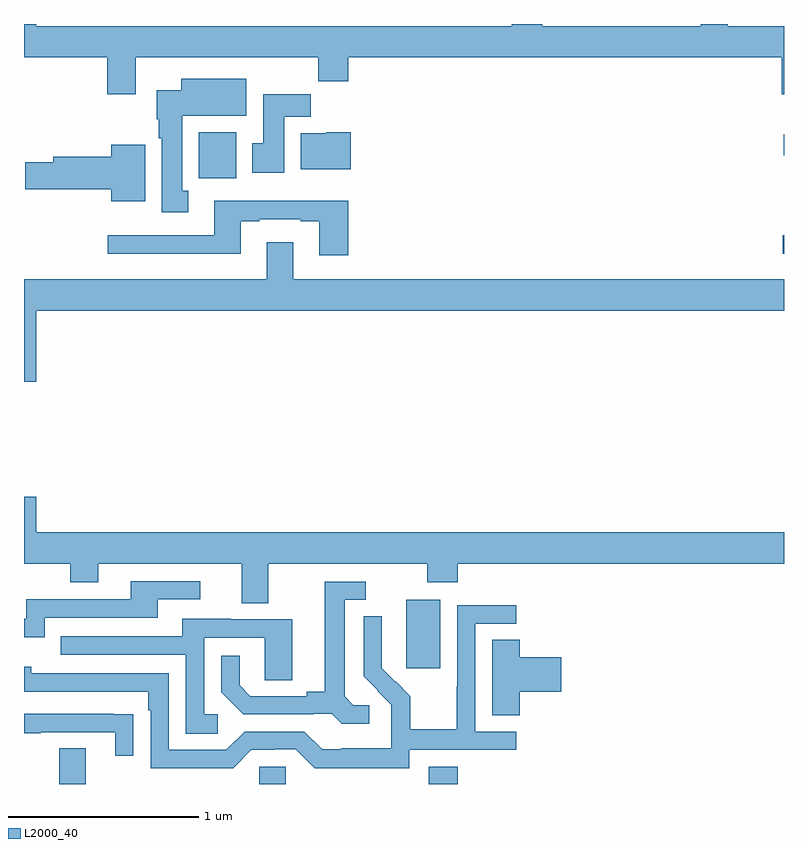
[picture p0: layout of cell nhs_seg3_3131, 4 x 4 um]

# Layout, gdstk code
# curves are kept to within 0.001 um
import gdstk
lib = gdstk.Library(unit=1e-6, precision=1e-09)
def R(c, l, rs):  # rectangles x0, y0, x1, y1
    for r in rs: c.add(gdstk.rectangle(r[:2], r[2:], *l))
def P(c, l, *ps):  # polygons
    for p in ps: c.add(gdstk.Polygon(p, *l))
L2000_40 = (2000, 40)

nhs_seg3_3131 = lib.new_cell('nhs_seg3_3131')
R(nhs_seg3_3131, L2000_40, [(273.185,722.4,273.325,722.587), (274.239,722.4,274.377,722.49), (275.129,722.4,275.282,722.491), (275.012,723.009,275.191,723.37), (276.993,725.192,277,725.289), (273.92,725.588,274.117,725.83), (276.998,725.708,277,725.821)])
P(nhs_seg3_3131, L2000_40, [(273.589,726.224),(274.549,726.224),(274.549,726.1),(274.706,726.1),(274.706,726.224),(276.989,726.224),(276.989,726.03),(277,726.03),(277,726.388),(276.703,726.388),(276.703,726.4),(276.563,726.4),(276.563,726.388),(275.727,726.388),(275.727,726.4),(275.567,726.4),(275.567,726.388),(273.064,726.388),(273.064,726.4),(273,726.4),(273,726.224),(273.437,726.224),(273.437,726.03),(273.589,726.03)],
  [(273.865,725.522),(273.832,725.522),(273.832,725.918),(274.171,725.918),(274.171,726.112),(273.827,726.112),(273.827,726.052),(273.698,726.052),(273.698,725.898),(273.71,725.898),(273.71,725.798),(273.725,725.798),(273.725,725.409),(273.865,725.409)],
  [(274.369,725.912),(274.508,725.912),(274.508,726.03),(274.259,726.03),(274.259,725.772),(274.202,725.772),(274.202,725.616),(274.369,725.616)],
  [(274.721,725.83),(274.59,725.83),(274.59,725.824),(274.457,725.824),(274.457,725.636),(274.721,725.636)],
  [(273.637,725.764),(273.458,725.764),(273.458,725.702),(273.155,725.702),(273.155,725.672),(273.006,725.672),(273.006,725.53),(273.458,725.53),(273.458,725.468),(273.637,725.468)],
  [(274.706,725.47),(274.001,725.47),(274.001,725.289),(273.441,725.289),(273.441,725.192),(274.141,725.192),(274.141,725.361),(274.237,725.361),(274.237,725.373),(274.457,725.373),(274.457,725.361),(274.553,725.361),(274.553,725.184),(274.706,725.184)],
  [(273.064,724.892),(277,724.892),(277,725.056),(274.417,725.056),(274.417,725.251),(274.277,725.251),(274.277,725.056),(273,725.056),(273,724.518),(273.064,724.518)],
  [(274.285,723.56),(275.122,723.56),(275.122,723.461),(275.282,723.461),(275.282,723.56),(277,723.56),(277,723.724),(273.064,723.724),(273.064,723.913),(273,723.913),(273,723.56),(273.244,723.56),(273.244,723.461),(273.391,723.461),(273.391,723.56),(274.145,723.56),(274.145,723.352),(274.285,723.352)],
  [(273.108,723.276),(273.703,723.276),(273.703,723.372),(273.928,723.372),(273.928,723.468),(273.563,723.468),(273.563,723.372),(273.012,723.372),(273.012,723.27),(273,723.27),(273,723.173),(273.108,723.173)],
  [(274.816,722.814),(274.734,722.814),(274.687,722.861),(274.687,723.369),(274.798,723.369),(274.798,723.465),(274.583,723.465),(274.583,722.885),(274.487,722.885),(274.487,722.862),(274.192,722.862),(274.135,722.919),(274.135,723.076),(274.038,723.076),(274.038,722.882),(274.154,722.766),(274.526,722.766),(274.526,722.769),(274.62,722.769),(274.672,722.717),(274.816,722.717)],
  [(275.028,722.58),(275.59,722.58),(275.59,722.676),(275.376,722.676),(275.376,723.243),(275.59,723.243),(275.59,723.342),(275.28,723.342),(275.28,722.912),(275.278,722.912),(275.278,722.689),(275.033,722.689),(275.033,722.863),(274.956,722.94),(274.953,722.937),(274.883,723.008),(274.884,723.284),(274.788,723.284),(274.788,722.966),(274.934,722.818),(274.934,722.721),(274.932,722.721),(274.932,722.587),(274.669,722.587),(274.669,722.583),(274.569,722.583),(274.476,722.676),(274.161,722.676),(274.065,722.58),(273.762,722.58),(273.762,722.982),(273.038,722.982),(273.038,723.016),(273,723.016),(273,722.886),(273.653,722.886),(273.653,722.789),(273.666,722.789),(273.666,722.484),(274.101,722.484),(274.197,722.58),(274.316,722.58),(274.316,722.583),(274.431,722.583),(274.531,722.483),(275.028,722.483)],
  [(274.021,722.766),(273.948,722.766),(273.948,723.171),(274.266,723.171),(274.266,722.947),(274.411,722.947),(274.411,723.267),(274.087,723.267),(274.087,723.271),(273.833,723.271),(273.833,723.177),(273.193,723.177),(273.193,723.081),(273.852,723.081),(273.852,722.665),(274.021,722.665)],
  [(275.609,722.885),(275.827,722.885),(275.827,723.068),(275.609,723.068),(275.609,723.158),(275.465,723.158),(275.465,722.761),(275.609,722.761)],
  [(273.575,722.768),(273.473,722.768),(273.473,722.769),(273,722.769),(273,722.668),(273.089,722.668),(273.089,722.673),(273.479,722.673),(273.479,722.55),(273.575,722.55)])

lib.write_gds('nhs_seg3_3131.gds')
